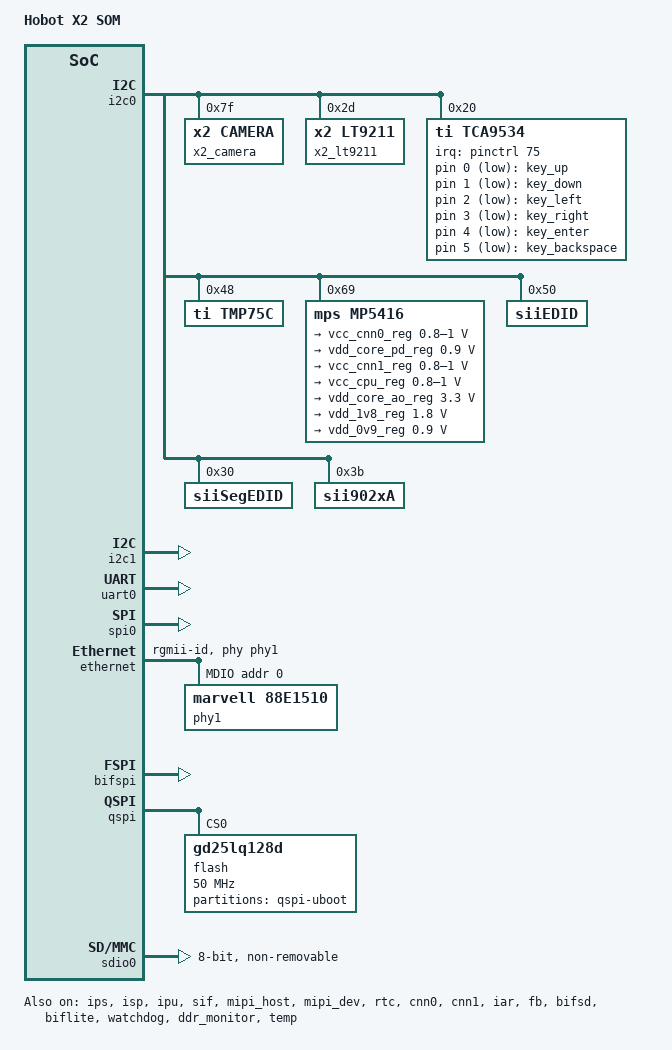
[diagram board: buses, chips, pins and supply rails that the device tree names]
/*
 * dts file for Hobot X2 SOM
 *
 * (C) Copyright 2018, Horizon, Inc.
 *
 *
 * This program is free software; you can redistribute it and/or
 * modify it under the terms of the GNU General Public License as
 * published by the Free Software Foundation; either version 2 of
 * the License, or (at your option) any later version.
 */

/dts-v1/;
#include "hobot.dtsi"
#include "hobot-pinctrl.dtsi"
#include "hobot-clk.dtsi"
#include "memory-1g.dtsi"
#include <dt-bindings/gpio/gpio.h>
#include <dt-bindings/phy/phy.h>
#include <dt-bindings/input/input.h>
/ {
	model = "Hobot X2 SOM";
	compatible = "hobot,x2-fpga";

	aliases {
		serial0 = &uart0;
		serial1 = &uart1;
		serial2 = &uart2;
		serial3 = &uart3;
		i2c0	= &i2c0;
		i2c1	= &i2c1;
		i2c2	= &i2c2;
		i2c3	= &i2c3;
		i2s0	= &i2s0;
		i2s1	= &i2s1;
		pwm0	= &pwm_0;
		pwm1	= &pwm_1;
		pwm2	= &pwm_2;
		bifsd	= &bifsd;
		bifspi	= &bifspi;
		mmc1	= &sdio0;
		mmc2	= &sdio1;
	};

	chosen {
		bootargs = "earlycon loglevel=8 console=ttyS0 clk_ignore_unused";
		stdout-path = "serial0:115200n8";
	};
	gpio-keys {
		compatible = "gpio-keys";
		interrupt-parent = <&tca9534>;

		up {
			label = "key_up";
			linux,code = <KEY_UP>;
			gpios = <&tca9534 0 GPIO_ACTIVE_LOW>;
			debounce-interval = <30>;
		};

		down {
			label = "key_down";
			linux,code = <KEY_DOWN>;
			gpios = <&tca9534 1 GPIO_ACTIVE_LOW>;
			debounce-interval = <30>;
		};

		left {
			label = "key_left";
			linux,code = <KEY_LEFT>;
			gpios = <&tca9534 2 GPIO_ACTIVE_LOW>;
			debounce-interval = <30>;
		};
		right {
			label = "key_right";
			linux,code = <KEY_RIGHT>;
			gpios = <&tca9534 3 GPIO_ACTIVE_LOW>;
			debounce-interval = <30>;
		};
		center {
			label = "key_enter";
			linux,code = <KEY_ENTER>;
			gpios = <&tca9534 4 GPIO_ACTIVE_LOW>;
			debounce-interval = <30>;
		};

		backspace {
			 label = "key_backspace";
			linux,code = <KEY_BACKSPACE>;
			gpios = <&tca9534 5 GPIO_ACTIVE_LOW>;
			debounce-interval = <30>;
		};
	};

};

&i2c0 {
	status = "okay";
	#address-cells = <1>;
	#size-cells = <0>;
	x2_camera@0x7f {
	    compatible = "x2,camera";
	    reg = <0x7f>;
	};
	x2_lt9211@0x2d {
		compatible = "x2,lt9211";
		reg = <0x2d>;
		x2_lt9211_reset_pin = <85>;
	};
	tca9534: gpio@20 {
		compatible = "ti,tca9534";
		reg = <0x20>;
		gpio-controller;
		interrupt-controller;
		interrupt-parent = <&pinctrl>;
		interrupts = <75 IRQ_TYPE_EDGE_FALLING>;
		#gpio-cells = <2>;
	};
	tmp75c@48 {
		compatible = "ti,tmp75c";
		reg = <0x48>;
	};
	mp5416@69 {
		compatible = "mps,mp5416";
		reg = <0x69>;
		regulators {
			vcc_cnn0_reg: DCDC1 {
				regulator-name = "VCC_CNN0";
				regulator-min-microvolt = <800000>;
				regulator-max-microvolt = <1000000>;
				regulator-always-on;
				regulator-boot-on;
			};

			vdd_core_pd_reg: DCDC2 {
				regulator-name = "VDD_CORE_PD";
				regulator-min-microvolt = <900000>;
				regulator-max-microvolt = <900000>;
				regulator-always-on;
				regulator-boot-on;
			};

			vcc_cnn1_reg: DCDC3 {
				regulator-name = "VCC_CNN1";
				regulator-min-microvolt = <800000>;
				regulator-max-microvolt = <1000000>;
				regulator-always-on;
				regulator-boot-on;
			};

			vcc_cpu_reg: DCDC4 {
				regulator-name = "VCC_CPU";
				regulator-min-microvolt = <800000>;
				regulator-max-microvolt = <1000000>;
				regulator-always-on;
				regulator-boot-on;
			};

			vdd_core_ao_reg: LDO3 {
				regulator-name = "VDD_CORE_AO";
				regulator-min-microvolt = <3300000>;
				regulator-max-microvolt = <3300000>;
				regulator-always-on;
				regulator-boot-on;
			};

			vdd_1v8_reg: LDO4 {
				regulator-name = "VDD_1V8";
				regulator-min-microvolt = <1800000>;
				regulator-max-microvolt = <1800000>;
				regulator-always-on;
				regulator-boot-on;
			};

			vdd_0v9_reg: LDO5 {
				regulator-name = "VDD_0V9";
				regulator-min-microvolt = <900000>;
				regulator-max-microvolt = <900000>;
				regulator-always-on;
				regulator-boot-on;
			};
		};
	};
	siiEDID@0x50 {
		compatible = "siiEDID";
		reg = <0x50>;
	};
	siiSegEDID@0x30 {
		compatible = "siiSegEDID";
		reg = <0x30>;
	};
	sii902xA@0x3B {
		compatible = "sii902xA";
		reg = <0x3B>;
		rst_pin = <85>;
		irq_pin = <2>;
	};

};

&i2c1 {
	status = "okay";
};

&pinctrl {
	status = "okay";
	gpioirq-bank-cfg = <76 0 0 0>;	//x2 som
};

&uart0 {
	status = "okay";
	clocks = <&uart0_mclk>;
	clock-names = "uart_mclk";
};

&ips {
	pinctrl-names = "bt_func", "dvp_func";
	pinctrl-0 = <&btout_func>;
	pinctrl-1 = <&dvpin_func &dvpout_func>;
	status = "okay";
};

&isp {
	status = "okay";
};

&ipu {
	status = "okay";
};

&sif {
	status = "okay";
};
&mipi_host {
	status = "okay";
};

&mipi_dev {
	status = "okay";
};

&dma {
	status = "okay";
};

&x2dmatest {
	status = "disabled";
};

&rtc {
	status = "okay";
};

&pwm_0 {
	status = "disabled";
};

&spi0 {
	status = "okay";
};

&ethernet {
	status = "okay";
	clocks = <&eth0_ephy_2nddiv_clk>, <&eth0_prediv_clk>, <&eth0_div_clk>;
	clock-names = "phy_ref_clk", "mac_pre_div_clk", "mac_div_clk";

	pinctrl-names = "default";
	pinctrl-0 = <&eth_func>;

	/* local-mac-address = [ 00 11 22 33 44 55 ]; */
	phy-handle = <&phy1>;
	phy-mode = "rgmii-id";
	mdio {
		#address-cells = <0x1>;
		#size-cells = <0x0>;
		phy1: phy@0 {
			compatible = "marvell,88E1510","ethernet-phy-ieee802.3-c22";
			reg = <0x0>;
		};
	};
};

&cpu0 {
	status = "okay";
	cpu-supply = <&vcc_cpu_reg>;
};
&cpu1 {
	status = "okay";
	cpu-supply = <&vcc_cpu_reg>;
};

&cnn0 {
	status = "okay";
	cnn0-supply = <&vcc_cnn0_reg>;
};

&cnn1 {
	status = "okay";
	cnn1-supply = <&vcc_cnn1_reg>;
};

&iar {
	status = "okay";
};
&fb {
	status = "okay";
};

&bifspi {
	status = "okay";
};

&bifsd {
	status = "okay";
	/*cd-gpio = <91>;*/
};
&bifbase {
	/*x2 som: GPIO6[1]: 95, GPIO0[7]: 7*/
	bifbase_irq_pin = <95>;
	bifbase_tri_pin = <7>;
};
&biflite {
	status = "okay";
};
&qspi {
	status = "okay";
	qspi-mode = <1>;
	#address-cells = <1>;
	#size-cells = <0>;
	clocks = <&sys_qspi_aclk>;
	clock-names = "qspi_aclk";

	flash@0 {
		compatible = "gd25lq128d";
		#address-cells = <1>;
		#size-cells = <1>;
		reg = <0x0>;
		spi-tx-bus-width = <4>;
		spi-rx-bus-width = <4>;
		spi-max-frequency = <50000000>;

		partition@qspi-uboot {
			label = "qspi-uboot";
			reg = <0x200000 0x200000>;
		};
	};
};

&sdio0 {
	status = "okay";
	bus-width = <8>;
	cap-mmc-highspeed;
	mmc-hs200-1_8v;
	non-removable;
	disable-wp;
};

//&sdio1 {
//	status = "okay";
//	bus-width = <4>;
//	no-mmc;
//	no-sdio;
//	cap-sd-highspeed;
//	powerup-gpio = <85>;
//	uhs-180v-gpio = <86>;
//	non-removable;
//	disable-wp;
//};

&watchdog {
	status = "okay";
};

&i2s0 {
	status = "disabled";
	clocks = <&i2s0_mclk>, <&i2s0_bclk>;
	clock-names = "i2s_mclk", "i2s_bclk";
};

&i2s1 {
	status = "disabled";
	clocks = <&i2s1_mclk>, <&i2s1_bclk>;
	clock-names = "i2s_mclk", "i2s_bclk";
};
&ddr_monitor {
	status = "okay";
};

&temp {
	clocks = <&temp_sensor_div_clk>;
	clock-names = "tsensor_clk";
	status = "okay";
};
